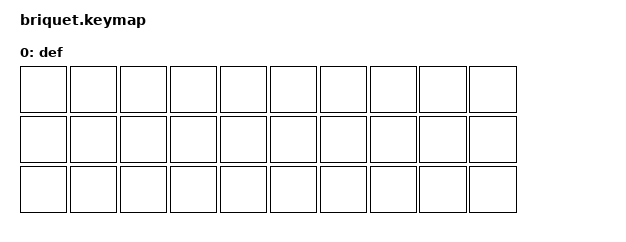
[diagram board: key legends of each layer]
#include <behaviors.dtsi>
#include <dt-bindings/zmk/keys.h>
#include <dt-bindings/zmk/bt.h>
#include <dt-bindings/zmk/outputs.h>
#include <dt-bindings/zmk/mouse.h>

/ { 

    keymap {
        compatible = "zmk,keymap";

        def {
            bindings = <
            &none &none &none &none &none   &none &none &none &none &none 
            &none &none &none &none &none   &none &none &none &none &none 
            &none &none &none &none &none   &none &none &none &none &none 
            >;
        };

    };
};
